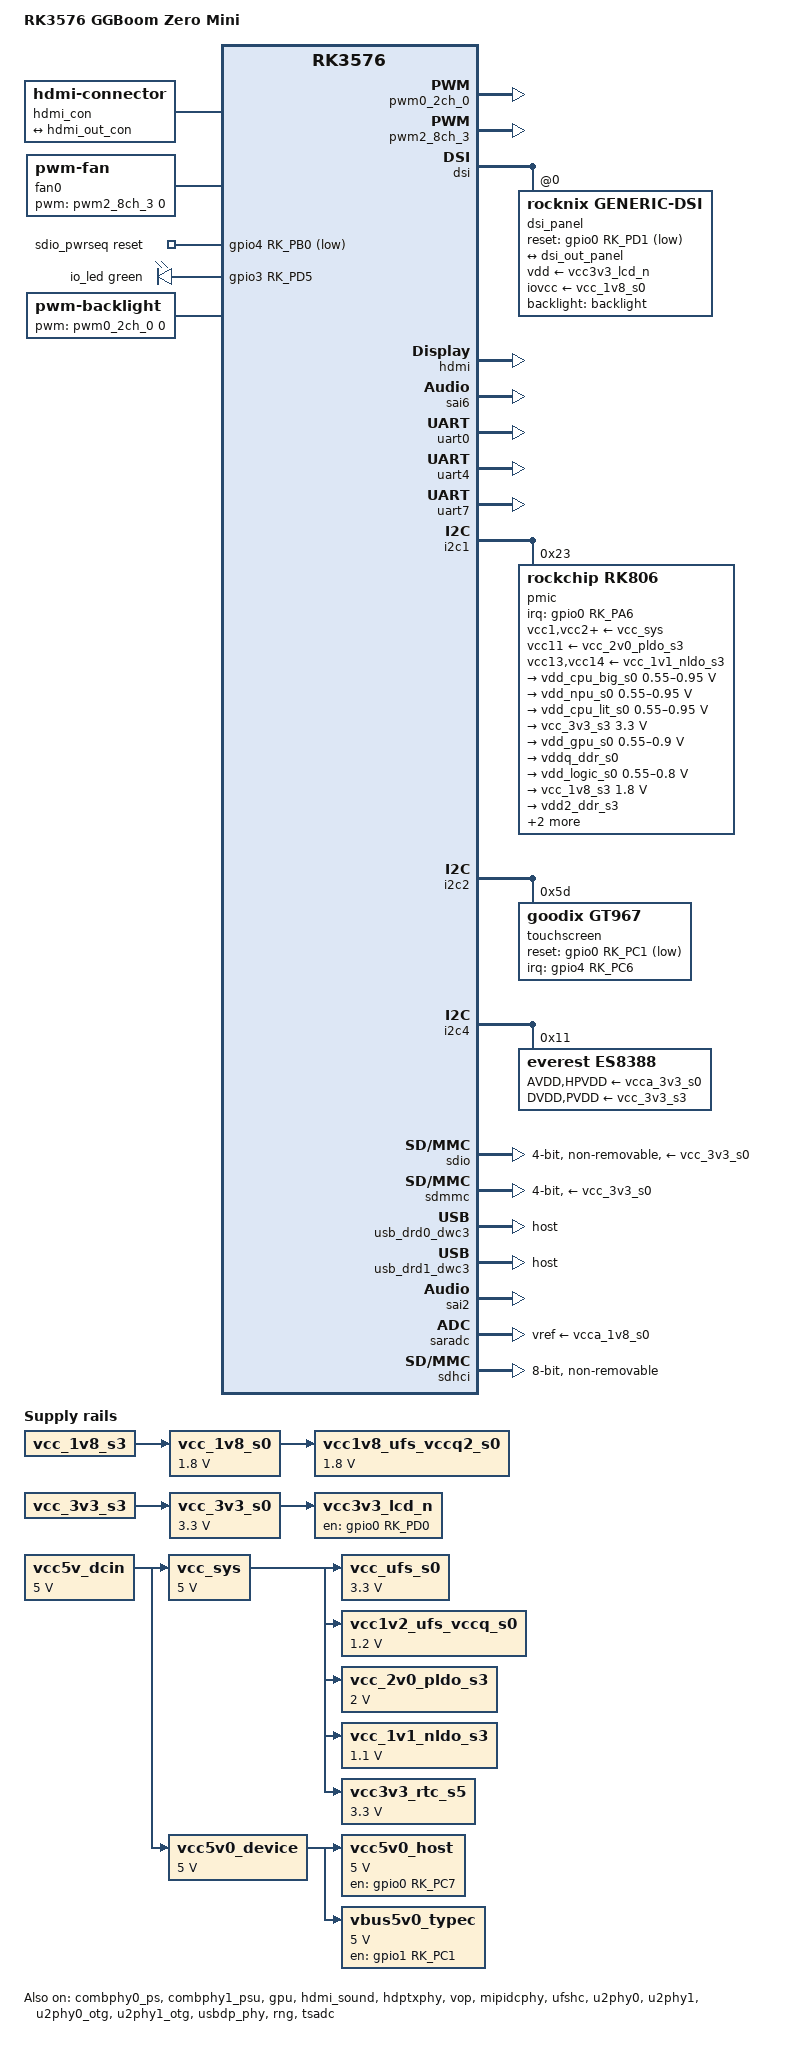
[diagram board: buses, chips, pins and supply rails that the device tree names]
// SPDX-License-Identifier: (GPL-2.0+ OR MIT)
/*
 * Copyright (c) 2024 Rockchip Electronics Co., Ltd.
 * Ported to ROCKNIX mainline (7.0) by rev-code from
 * linux-rockchip-rk35xx-6.1 rk3576-ggboom-zero-mini.dts
 */

/dts-v1/;

#include <dt-bindings/gpio/gpio.h>
#include <dt-bindings/input/linux-event-codes.h>
#include <dt-bindings/leds/common.h>
#include <dt-bindings/pinctrl/rockchip.h>
#include <dt-bindings/pwm/pwm.h>
#include <dt-bindings/soc/rockchip,vop2.h>
#include <dt-bindings/usb/pd.h>

#include "rk3576.dtsi"

/ {
	model = "RK3576 GGBoom Zero Mini";
	compatible = "rockchip,rk3576-ggboom-zero-mini", "rockchip,rk3576-ggboom-zero", "rockchip,rk3576";

	aliases {
		mmc0 = &sdhci;
		mmc1 = &sdmmc;
		mmc2 = &sdio;
	};

	chosen {
		stdout-path = "serial0:1500000n8";
	};

	reserved-memory {
		#address-cells = <2>;
		#size-cells = <2>;
		ranges;

		linux,cma {
			compatible = "shared-dma-pool";
			reusable;
			size = <0x0 0x10000000>;
			alignment = <0x0 0x400000>;
			linux,cma-default;
		};
	};

	hdmi_con: hdmi-connector {
		compatible = "hdmi-connector";
		type = "c";

		port {
			hdmi_con_in: endpoint {
				remote-endpoint = <&hdmi_out_con>;
			};
		};
	};

	fan0: pwm-fan {
		compatible = "pwm-fan";
		#cooling-cells = <2>;
		cooling-levels = <0 100 125 150 200 255>;
		pwms = <&pwm2_8ch_3 0 60000 0>;
		status = "okay";
	};

	sdio_pwrseq: sdio-pwrseq {
		compatible = "mmc-pwrseq-simple";
		pinctrl-names = "default";
		pinctrl-0 = <&wifi_poweren_gpio>;
		post-power-on-delay-ms = <200>;
		reset-gpios = <&gpio4 RK_PB0 GPIO_ACTIVE_LOW>;
		status = "okay";
	};

	vcc_1v8_s0: vcc-1v8-s0 {
		compatible = "regulator-fixed";
		regulator-name = "vcc_1v8_s0";
		regulator-boot-on;
		regulator-always-on;
		regulator-min-microvolt = <1800000>;
		regulator-max-microvolt = <1800000>;
		vin-supply = <&vcc_1v8_s3>;
	};

	vcc_3v3_s0: vcc-3v3-s0 {
		compatible = "regulator-fixed";
		regulator-name = "vcc_3v3_s0";
		regulator-boot-on;
		regulator-always-on;
		regulator-min-microvolt = <3300000>;
		regulator-max-microvolt = <3300000>;
		vin-supply = <&vcc_3v3_s3>;
	};

	vcc_ufs_s0: vcc-ufs-s0 {
		compatible = "regulator-fixed";
		regulator-name = "vcc_ufs_s0";
		regulator-boot-on;
		regulator-always-on;
		regulator-min-microvolt = <3300000>;
		regulator-max-microvolt = <3300000>;
		vin-supply = <&vcc_sys>;
	};

	vcc1v8_ufs_vccq2_s0: vcc1v8-ufs-vccq2-s0 {
		compatible = "regulator-fixed";
		regulator-name = "vcc1v8_ufs_vccq2_s0";
		regulator-boot-on;
		regulator-always-on;
		regulator-min-microvolt = <1800000>;
		regulator-max-microvolt = <1800000>;
		vin-supply = <&vcc_1v8_s0>;
	};

	vcc1v2_ufs_vccq_s0: vcc1v2-ufs-vccq-s0 {
		compatible = "regulator-fixed";
		regulator-name = "vcc1v2_ufs_vccq_s0";
		regulator-boot-on;
		regulator-always-on;
		regulator-min-microvolt = <1200000>;
		regulator-max-microvolt = <1200000>;
		vin-supply = <&vcc_sys>;
	};

	vcc3v3_lcd_n: vcc3v3-lcd0-n {
		compatible = "regulator-fixed";
		regulator-name = "vcc3v3_lcd0_n";
		regulator-boot-on;
		enable-active-high;
		gpio = <&gpio0 RK_PD0 GPIO_ACTIVE_HIGH>;
		vin-supply = <&vcc_3v3_s0>;
		pinctrl-names = "default";
		pinctrl-0 = <&lcd_pwren>;
	};

	vcc5v0_host: vcc5v0-host {
		compatible = "regulator-fixed";
		regulator-name = "vcc5v0_host";
		regulator-boot-on;
		regulator-always-on;
		regulator-min-microvolt = <5000000>;
		regulator-max-microvolt = <5000000>;
		enable-active-high;
		gpio = <&gpio0 RK_PC7 GPIO_ACTIVE_HIGH>;
		vin-supply = <&vcc5v0_device>;
		pinctrl-names = "default";
		pinctrl-0 = <&usb_host_pwren>;
	};

	vbus5v0_typec: vbus5v0-typec {
		compatible = "regulator-fixed";
		regulator-name = "vbus5v0_typec";
		regulator-min-microvolt = <5000000>;
		regulator-max-microvolt = <5000000>;
		enable-active-high;
		gpio = <&gpio1 RK_PC1 GPIO_ACTIVE_HIGH>;
		vin-supply = <&vcc5v0_device>;
		pinctrl-names = "default";
		pinctrl-0 = <&usb_otg0_pwren>;
	};

	vcc5v_dcin: vcc5v-dcin {
		compatible = "regulator-fixed";
		regulator-name = "vcc5v_dcin";
		regulator-always-on;
		regulator-boot-on;
		regulator-min-microvolt = <5000000>;
		regulator-max-microvolt = <5000000>;
	};

	vcc_sys: vcc5v0-sys {
		compatible = "regulator-fixed";
		regulator-name = "vcc_sys";
		regulator-always-on;
		regulator-boot-on;
		regulator-min-microvolt = <5000000>;
		regulator-max-microvolt = <5000000>;
		vin-supply = <&vcc5v_dcin>;
	};

	vcc5v0_device: vcc5v0-device {
		compatible = "regulator-fixed";
		regulator-name = "vcc5v0_device";
		regulator-always-on;
		regulator-boot-on;
		regulator-min-microvolt = <5000000>;
		regulator-max-microvolt = <5000000>;
		vin-supply = <&vcc5v_dcin>;
	};

	vcc_2v0_pldo_s3: vcc-2v0-pldo-s3 {
		compatible = "regulator-fixed";
		regulator-name = "vcc_2v0_pldo_s3";
		regulator-boot-on;
		regulator-always-on;
		regulator-min-microvolt = <2000000>;
		regulator-max-microvolt = <2000000>;
		vin-supply = <&vcc_sys>;
	};

	vcc_1v1_nldo_s3: vcc-1v1-nldo-s3 {
		compatible = "regulator-fixed";
		regulator-name = "vcc_1v1_nldo_s3";
		regulator-boot-on;
		regulator-always-on;
		regulator-min-microvolt = <1100000>;
		regulator-max-microvolt = <1100000>;
		vin-supply = <&vcc_sys>;
	};

	vcc3v3_rtc_s5: vcc3v3-rtc-s5 {
		compatible = "regulator-fixed";
		regulator-name = "vcc3v3_rtc_s5";
		regulator-boot-on;
		regulator-always-on;
		regulator-min-microvolt = <3300000>;
		regulator-max-microvolt = <3300000>;
		vin-supply = <&vcc_sys>;
	};

	gpio_leds: leds {
		compatible = "gpio-leds";
		pinctrl-0 = <&io_led_pin>;
		pinctrl-names = "default";

		io_led: led-0 {
			color = <LED_COLOR_ID_GREEN>;
			default-state = "on";
			function = LED_FUNCTION_HEARTBEAT;
			gpios = <&gpio3 RK_PD5 GPIO_ACTIVE_HIGH>;
			linux,default-trigger = "heartbeat";
		};
	};

	backlight: backlight {
		compatible = "pwm-backlight";
		pwms = <&pwm0_2ch_0 0 25000 0>;
		brightness-levels = <
			  0  20  20  21  21  22  22  23
			 23  24  24  25  25  26  26  27
			 27  28  28  29  29  30  30  31
			 31  32  32  33  33  34  34  35
			 35  36  36  37  37  38  38  39
			 40  41  42  43  44  45  46  47
			 48  49  50  51  52  53  54  55
			 56  57  58  59  60  61  62  63
			 64  65  66  67  68  69  70  71
			 72  73  74  75  76  77  78  79
			 80  81  82  83  84  85  86  87
			 88  89  90  91  92  93  94  95
			 96  97  98  99 100 101 102 103
			104 105 106 107 108 109 110 111
			112 113 114 115 116 117 118 119
			120 121 122 123 124 125 126 127
			128 129 130 131 132 133 134 135
			136 137 138 139 140 141 142 143
			144 145 146 147 148 149 150 151
			152 153 154 155 156 157 158 159
			160 161 162 163 164 165 166 167
			168 169 170 171 172 173 174 175
			176 177 178 179 180 181 182 183
			184 185 186 187 188 189 190 191
			192 193 194 195 196 197 198 199
			200 201 202 203 204 205 206 207
			208 209 210 211 212 213 214 215
			216 217 218 219 220 221 222 223
			224 225 226 227 228 229 230 231
			232 233 234 235 236 237 238 239
			240 241 242 243 244 245 246 247
			248 249 250 251 252 253 254 255
		>;
		default-brightness-level = <200>;
	};

	sound: sound {
		compatible = "simple-audio-card";
		simple-audio-card,name = "rockchip,es8388-codec";
		simple-audio-card,format = "i2s";
		simple-audio-card,mclk-fs = <256>;
		simple-audio-card,routing =
			"Speaker", "LOUT1",
			"Speaker", "ROUT1",
			"LINPUT1", "Main Mic",
			"RINPUT1", "Main Mic";
		simple-audio-card,widgets =
			"Microphone", "Main Mic",
			"Speaker", "Speaker";
		status = "okay";

		simple-audio-card,codec {
			sound-dai = <&es8388>;
			system-clock-frequency = <12288000>;
		};

		simple-audio-card,cpu {
			sound-dai = <&sai2>;
		};
	};

	pwm0_2ch_0: pwm@27330000 {
		compatible = "rockchip,rk3576-pwm";
		reg = <0x0 0x27330000 0x0 0x1000>;
		interrupts = <GIC_SPI 100 IRQ_TYPE_LEVEL_HIGH>;
		#pwm-cells = <3>;
		pinctrl-names = "default";
		pinctrl-0 = <&pwm0m0_ch0>;
		clocks = <&cru CLK_PMU1PWM>, <&cru PCLK_PMU1PWM>,
			 <&cru CLK_PMU1PWM_OSC>, <&cru CLK_PMU1PWM_RC>;
		clock-names = "pwm", "pclk", "osc", "rc";
		status = "okay";
	};

	pwm2_8ch_3: pwm@2ade3000 {
		compatible = "rockchip,rk3576-pwm";
		reg = <0x0 0x2ade3000 0x0 0x1000>;
		interrupts = <GIC_SPI 111 IRQ_TYPE_LEVEL_HIGH>;
		#pwm-cells = <3>;
		pinctrl-names = "default";
		pinctrl-0 = <&pwm2m1_ch3>;
		clocks = <&cru CLK_PWM2>, <&cru PCLK_PWM2>,
			 <&cru CLK_OSC_PWM2>, <&cru CLK_RC_PWM2>;
		clock-names = "pwm", "pclk", "osc", "rc";
		status = "okay";
	};
};

&combphy0_ps {
	status = "okay";
};

&combphy1_psu {
	status = "okay";
};

&cpu_b0 {
	cpu-supply = <&vdd_cpu_big_s0>;
};

&cpu_b1 {
	cpu-supply = <&vdd_cpu_big_s0>;
};

&cpu_b2 {
	cpu-supply = <&vdd_cpu_big_s0>;
};

&cpu_b3 {
	cpu-supply = <&vdd_cpu_big_s0>;
};

&cpu_l0 {
	cpu-supply = <&vdd_cpu_lit_s0>;
};

&cpu_l1 {
	cpu-supply = <&vdd_cpu_lit_s0>;
};

&cpu_l2 {
	cpu-supply = <&vdd_cpu_lit_s0>;
};

&cpu_l3 {
	cpu-supply = <&vdd_cpu_lit_s0>;
};

&dsi {
	status = "okay";
	#address-cells = <1>;
	#size-cells = <0>;

	dsi_panel: panel@0 {
		compatible = "rocknix,generic-dsi";
		reg = <0>;
		backlight = <&backlight>;
		pinctrl-0 = <&lcd_rst>;
		pinctrl-names = "default";
		vdd-supply = <&vcc3v3_lcd_n>;
		iovcc-supply = <&vcc_1v8_s0>;
		reset-gpios = <&gpio0 RK_PD1 GPIO_ACTIVE_LOW>;
		/* 6.1 vendor: 1024x768, 4 lanes, rgb888, 50MHz
		 * init-sequence kept in vendor dts, convert to
		 * panel fw / I-lines on display bring-up. */
		panel_description =
			"G size=1024,768 delays=100,20,30,120,20 format=rgb888 lanes=4 flags=0xe03",
			"M clock=50000 horizontal=1024,10,2,10 vertical=768,6,2,20 default=1";

		port {
			panel_in_dsi: endpoint {
				remote-endpoint = <&dsi_out_panel>;
			};
		};
	};
};

&dsi_in {
	dsi_in_vp1: endpoint {
		remote-endpoint = <&vp1_out_dsi>;
	};
};

&dsi_out {
	dsi_out_panel: endpoint {
		remote-endpoint = <&panel_in_dsi>;
	};
};

&gpu {
	mali-supply = <&vdd_gpu_s0>;
	resets = <&cru SRST_GPU>;
	status = "okay";
};

&hdmi {
	status = "okay";
};

&hdmi_in {
	hdmi_in_vp0: endpoint {
		remote-endpoint = <&vp0_out_hdmi>;
	};
};

&hdmi_out {
	hdmi_out_con: endpoint {
		remote-endpoint = <&hdmi_con_in>;
	};
};

&hdmi_sound {
	status = "okay";
};

&hdptxphy {
	status = "okay";
};

&sai6 {
	status = "okay";
};

&vp0 {
	vp0_out_hdmi: endpoint@ROCKCHIP_VOP2_EP_HDMI0 {
		reg = <ROCKCHIP_VOP2_EP_HDMI0>;
		remote-endpoint = <&hdmi_in_vp0>;
	};
};

&vp1 {
	vp1_out_dsi: endpoint@ROCKCHIP_VOP2_EP_MIPI0 {
		reg = <ROCKCHIP_VOP2_EP_MIPI0>;
		remote-endpoint = <&dsi_in_vp1>;
	};
};

&vop {
	status = "okay";
};

&vop_mmu {
	status = "okay";
};

&mipidcphy {
	status = "okay";
};

&gmac0 {
	status = "disabled";
};

&gmac1 {
	status = "disabled";
};

&uart0 {
	status = "okay";
};

&uart4 {
	pinctrl-names = "default";
	pinctrl-0 = <&uart4m1_xfer>;
	status = "okay";
};

&uart7 {
	pinctrl-names = "default";
	pinctrl-0 = <&uart7m0_xfer &uart7m0_ctsn>;
	status = "okay";
};

&i2c1 {
	status = "okay";

	pmic@23 {
		compatible = "rockchip,rk806";
		reg = <0x23>;
		#gpio-cells = <2>;
		gpio-controller;
		interrupt-parent = <&gpio0>;
		interrupts = <RK_PA6 IRQ_TYPE_LEVEL_LOW>;
		pinctrl-names = "default";
		pinctrl-0 = <&pmic_pins
				 &rk806_dvs1_null
				 &rk806_dvs2_null
				 &rk806_dvs3_null>;
		system-power-controller;
		vcc1-supply = <&vcc_sys>;
		vcc2-supply = <&vcc_sys>;
		vcc3-supply = <&vcc_sys>;
		vcc4-supply = <&vcc_sys>;
		vcc5-supply = <&vcc_sys>;
		vcc6-supply = <&vcc_sys>;
		vcc7-supply = <&vcc_sys>;
		vcc8-supply = <&vcc_sys>;
		vcc9-supply = <&vcc_sys>;
		vcc10-supply = <&vcc_sys>;
		vcc11-supply = <&vcc_2v0_pldo_s3>;
		vcc12-supply = <&vcc_sys>;
		vcc13-supply = <&vcc_1v1_nldo_s3>;
		vcc14-supply = <&vcc_1v1_nldo_s3>;
		vcca-supply = <&vcc_sys>;

		rk806_dvs1_null: dvs1-null-pins {
			pins = "gpio_pwrctrl1";
			function = "pin_fun0";
		};

		rk806_dvs2_null: dvs2-null-pins {
			pins = "gpio_pwrctrl2";
			function = "pin_fun0";
		};

		rk806_dvs3_null: dvs3-null-pins {
			pins = "gpio_pwrctrl3";
			function = "pin_fun0";
		};

		regulators {
			vdd_cpu_big_s0: dcdc-reg1 {
				regulator-always-on;
				regulator-boot-on;
				regulator-min-microvolt = <550000>;
				regulator-max-microvolt = <950000>;
				regulator-name = "vdd_cpu_big_s0";
				regulator-ramp-delay = <12500>;
				regulator-state-mem {
					regulator-off-in-suspend;
				};
			};

			vdd_npu_s0: dcdc-reg2 {
				regulator-boot-on;
				regulator-min-microvolt = <550000>;
				regulator-max-microvolt = <950000>;
				regulator-name = "vdd_npu_s0";
				regulator-ramp-delay = <12500>;
				regulator-state-mem {
					regulator-off-in-suspend;
				};
			};

			vdd_cpu_lit_s0: dcdc-reg3 {
				regulator-always-on;
				regulator-boot-on;
				regulator-min-microvolt = <550000>;
				regulator-max-microvolt = <950000>;
				regulator-name = "vdd_cpu_lit_s0";
				regulator-ramp-delay = <12500>;
				regulator-state-mem {
					regulator-off-in-suspend;
					regulator-suspend-microvolt = <750000>;
				};
			};

			vcc_3v3_s3: dcdc-reg4 {
				regulator-always-on;
				regulator-boot-on;
				regulator-min-microvolt = <3300000>;
				regulator-max-microvolt = <3300000>;
				regulator-name = "vcc_3v3_s3";
				regulator-state-mem {
					regulator-on-in-suspend;
					regulator-suspend-microvolt = <3300000>;
				};
			};

			vdd_gpu_s0: dcdc-reg5 {
				regulator-boot-on;
				regulator-always-on;
				regulator-min-microvolt = <550000>;
				regulator-max-microvolt = <900000>;
				regulator-name = "vdd_gpu_s0";
				regulator-ramp-delay = <12500>;
				regulator-state-mem {
					regulator-off-in-suspend;
				};
			};

			vddq_ddr_s0: dcdc-reg6 {
				regulator-always-on;
				regulator-boot-on;
				regulator-name = "vddq_ddr_s0";
				regulator-state-mem {
					regulator-off-in-suspend;
				};
			};

			vdd_logic_s0: dcdc-reg7 {
				regulator-always-on;
				regulator-boot-on;
				regulator-min-microvolt = <550000>;
				regulator-max-microvolt = <800000>;
				regulator-name = "vdd_logic_s0";
				regulator-state-mem {
					regulator-off-in-suspend;
				};
			};

			vcc_1v8_s3: dcdc-reg8 {
				regulator-always-on;
				regulator-boot-on;
				regulator-min-microvolt = <1800000>;
				regulator-max-microvolt = <1800000>;
				regulator-name = "vcc_1v8_s3";
				regulator-state-mem {
					regulator-on-in-suspend;
					regulator-suspend-microvolt = <1800000>;
				};
			};

			vdd2_ddr_s3: dcdc-reg9 {
				regulator-always-on;
				regulator-boot-on;
				regulator-name = "vdd2_ddr_s3";
				regulator-state-mem {
					regulator-on-in-suspend;
				};
			};

			vdd_ddr_s0: dcdc-reg10 {
				regulator-always-on;
				regulator-boot-on;
				regulator-min-microvolt = <550000>;
				regulator-max-microvolt = <1200000>;
				regulator-name = "vdd_ddr_s0";
				regulator-state-mem {
					regulator-off-in-suspend;
				};
			};

			vcca_1v8_s0: pldo-reg1 {
				regulator-always-on;
				regulator-boot-on;
				regulator-min-microvolt = <1800000>;
				regulator-max-microvolt = <1800000>;
				regulator-name = "vcca_1v8_s0";
				regulator-state-mem {
					regulator-off-in-suspend;
				};
			};

			vcca1v8_pldo2_s0: pldo-reg2 {
				regulator-always-on;
				regulator-boot-on;
				regulator-min-microvolt = <1800000>;
				regulator-max-microvolt = <1800000>;
				regulator-name = "vcca1v8_pldo2_s0";
				regulator-state-mem {
					regulator-off-in-suspend;
				};
			};

			vdda_1v2_s0: pldo-reg3 {
				regulator-always-on;
				regulator-boot-on;
				regulator-min-microvolt = <1200000>;
				regulator-max-microvolt = <1200000>;
				regulator-name = "vdda_1v2_s0";
				regulator-state-mem {
					regulator-off-in-suspend;
				};
			};

			vcca_3v3_s0: pldo-reg4 {
				regulator-always-on;
				regulator-boot-on;
				regulator-min-microvolt = <3300000>;
				regulator-max-microvolt = <3300000>;
				regulator-name = "vcca_3v3_s0";
				regulator-state-mem {
					regulator-off-in-suspend;
				};
			};

			vccio_sd_s0: pldo-reg5 {
				regulator-always-on;
				regulator-boot-on;
				regulator-min-microvolt = <1800000>;
				regulator-max-microvolt = <3300000>;
				regulator-name = "vccio_sd_s0";
				regulator-state-mem {
					regulator-on-in-suspend;
				};
			};

			vcca1v8_pldo6_s3: pldo-reg6 {
				regulator-always-on;
				regulator-boot-on;
				regulator-min-microvolt = <1800000>;
				regulator-max-microvolt = <1800000>;
				regulator-name = "vcca1v8_pldo6_s3";
				regulator-state-mem {
					regulator-on-in-suspend;
					regulator-suspend-microvolt = <1800000>;
				};
			};

			vdd_0v75_s3: nldo-reg1 {
				regulator-always-on;
				regulator-boot-on;
				regulator-min-microvolt = <750000>;
				regulator-max-microvolt = <750000>;
				regulator-name = "vdd_0v75_s3";
				regulator-state-mem {
					regulator-on-in-suspend;
					regulator-suspend-microvolt = <750000>;
				};
			};

			vdda_ddr_pll_s0: nldo-reg2 {
				regulator-always-on;
				regulator-boot-on;
				regulator-min-microvolt = <850000>;
				regulator-max-microvolt = <850000>;
				regulator-name = "vdda_ddr_pll_s0";
				regulator-state-mem {
					regulator-off-in-suspend;
				};
			};

			vdda0v75_hdmi_s0: nldo-reg3 {
				regulator-always-on;
				regulator-boot-on;
				regulator-min-microvolt = <750000>;
				regulator-max-microvolt = <750000>;
				regulator-name = "vdda0v75_hdmi_s0";
				regulator-state-mem {
					regulator-off-in-suspend;
				};
			};

			vdda_0v85_s0: nldo-reg4 {
				regulator-always-on;
				regulator-boot-on;
				regulator-min-microvolt = <850000>;
				regulator-max-microvolt = <850000>;
				regulator-name = "vdda_0v85_s0";
				regulator-state-mem {
					regulator-off-in-suspend;
				};
			};

			vdda_0v75_s0: nldo-reg5 {
				regulator-always-on;
				regulator-boot-on;
				regulator-min-microvolt = <750000>;
				regulator-max-microvolt = <750000>;
				regulator-name = "vdda_0v75_s0";
				regulator-state-mem {
					regulator-off-in-suspend;
				};
			};
		};
	};
};

&i2c2 {
	pinctrl-names = "default";
	pinctrl-0 = <&i2c2m0_xfer>;
	status = "okay";

	touchscreen@5d {
		compatible = "goodix,gt967";
		reg = <0x5d>;
		interrupt-parent = <&gpio4>;
		interrupts = <RK_PC6 IRQ_TYPE_LEVEL_LOW>;
		reset-gpios = <&gpio0 RK_PC1 GPIO_ACTIVE_LOW>;
		pinctrl-names = "default";
		pinctrl-0 = <&touch_int_gpio &touch_rst_gpio>;
		wakeup-source;
		status = "okay";
	};
};

&i2c4 {
	pinctrl-names = "default";
	pinctrl-0 = <&i2c4m0_xfer>;
	status = "okay";

	es8388: audio-codec@11 {
		compatible = "everest,es8388", "everest,es8328";
		reg = <0x11>;
		#sound-dai-cells = <0>;
		clocks = <&cru CLK_SAI2_MCLKOUT_TO_IO>;
		clock-names = "mclk";
		assigned-clocks = <&cru CLK_SAI2_MCLKOUT_TO_IO>;
		assigned-clock-rates = <12288000>;
		AVDD-supply = <&vcca_3v3_s0>;
		DVDD-supply = <&vcc_3v3_s3>;
		HPVDD-supply = <&vcca_3v3_s0>;
		PVDD-supply = <&vcc_3v3_s3>;
		pinctrl-names = "default";
		pinctrl-0 = <&sai2m0_mclk>;
		status = "okay";
	};
};

&pinctrl {
	usb {
		usb_host_pwren: usb-host-pwren {
			rockchip,pins = <0 RK_PC7 RK_FUNC_GPIO &pcfg_pull_none>;
		};

		usb_otg0_pwren: usb-otg0-pwren {
			rockchip,pins = <1 RK_PC1 RK_FUNC_GPIO &pcfg_pull_none>;
		};
	};

	touch {
		touch_int_gpio: touch-int-gpio {
			rockchip,pins = <4 RK_PC6 RK_FUNC_GPIO &pcfg_pull_up>;
		};

		touch_rst_gpio: touch-rst-gpio {
			rockchip,pins = <0 RK_PC1 RK_FUNC_GPIO &pcfg_pull_up>;
		};
	};

	leds {
		io_led_pin: io-led-pin {
			rockchip,pins = <3 RK_PD5 RK_FUNC_GPIO &pcfg_pull_none>;
		};
	};

	display {
		lcd_pwren: lcd-pwren {
			rockchip,pins = <0 RK_PD0 RK_FUNC_GPIO &pcfg_pull_none>;
		};

		lcd_rst: lcd-rst {
			rockchip,pins = <0 RK_PD1 RK_FUNC_GPIO &pcfg_pull_none>;
		};
	};

	wifi {
		wifi_poweren_gpio: wifi-poweren-gpio {
			rockchip,pins = <4 RK_PB0 RK_FUNC_GPIO &pcfg_pull_down>;
		};

		wifi_host_wake_irq: wifi-host-wake-irq {
			rockchip,pins = <2 RK_PD6 RK_FUNC_GPIO &pcfg_pull_down>;
		};
	};

	pcie {
		pcie1_perstn: pcie1-perstn {
			rockchip,pins = <0 RK_PC0 RK_FUNC_GPIO &pcfg_pull_none>;
		};
	};
};

&sdio {
	bus-width = <4>;
	max-frequency = <25000000>;
	supports-sdio;
	no-sd;
	no-mmc;
	disable-wp;
	cap-sd-highspeed;
	cap-sdio-irq;
	keep-power-in-suspend;
	mmc-pwrseq = <&sdio_pwrseq>;
	non-removable;
	pinctrl-names = "default";
	pinctrl-0 = <&sdmmc1m1_bus4 &sdmmc1m1_clk &sdmmc1m1_cmd>;
	vmmc-supply = <&vcc_3v3_s0>;
	vqmmc-supply = <&vcc_3v3_s0>;
	status = "okay";
};

&sdmmc {
	bus-width = <4>;
	max-frequency = <200000000>;
	pinctrl-names = "default";
	pinctrl-0 = <&sdmmc0_clk &sdmmc0_cmd &sdmmc0_det &sdmmc0_bus4>;
	no-sdio;
	no-mmc;
	disable-wp;
	cap-mmc-highspeed;
	cap-sd-highspeed;
	sd-uhs-sdr104;
	vqmmc-supply = <&vccio_sd_s0>;
	vmmc-supply = <&vcc_3v3_s0>;
	status = "okay";
};

&ufshc {
	vcc-supply = <&vcc_ufs_s0>;
	vccq-supply = <&vcc1v2_ufs_vccq_s0>;
	vccq2-supply = <&vcc1v8_ufs_vccq2_s0>;
	reset-gpios = <&gpio4 RK_PD0 GPIO_ACTIVE_HIGH>;
	status = "okay";
};

&u2phy0 {
	status = "okay";
};

&u2phy1 {
	status = "okay";
};

&u2phy0_otg {
	status = "okay";
};

&u2phy1_otg {
	status = "okay";
};

&usbdp_phy {
	status = "okay";
};

&usb_drd0_dwc3 {
	dr_mode = "host";
	status = "okay";
};

&usb_drd1_dwc3 {
	dr_mode = "host";
	status = "okay";
};

&rng {
	status = "okay";
};

&sai2 {
	pinctrl-names = "default";
	pinctrl-0 = <&sai2m0_lrck
		     &sai2m0_sclk
		     &sai2m0_sdi
		     &sai2m0_sdo>;
	status = "okay";
};

&sai6 {
	status = "okay";
};

&saradc {
	vref-supply = <&vcca_1v8_s0>;
	status = "okay";
};

&sdhci {
	bus-width = <8>;
	no-sdio;
	no-sd;
	non-removable;
	max-frequency = <200000000>;
	mmc-hs400-1_8v;
	mmc-hs400-enhanced-strobe;
	full-pwr-cycle-in-suspend;
	status = "okay";
};

&tsadc {
	status = "okay";
};

&pcie0 {
	reset-gpios = <&gpio1 RK_PB7 GPIO_ACTIVE_HIGH>;
	status = "disabled";
};

&pcie1 {
	reset-gpios = <&gpio0 RK_PC0 GPIO_ACTIVE_HIGH>;
	vpcie3v3-supply = <&vcc_3v3_s0>;
	pinctrl-names = "default";
	pinctrl-0 = <&pcie1_perstn>;
	status = "disabled";
};
